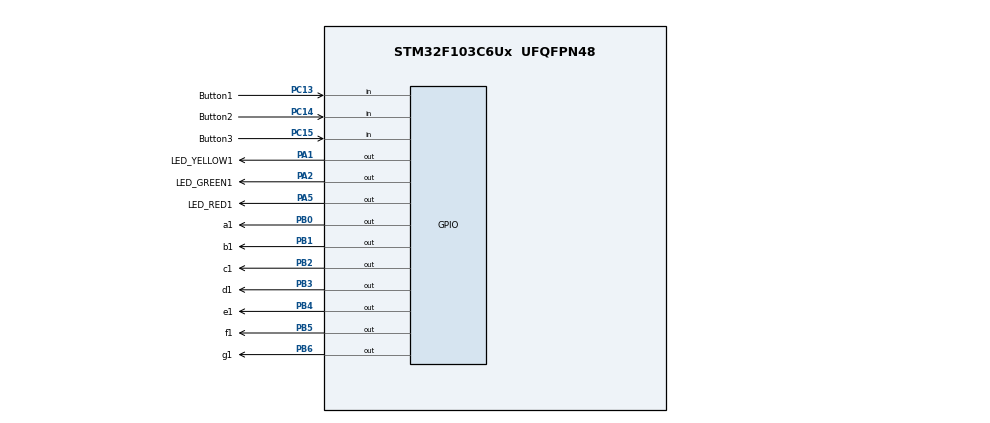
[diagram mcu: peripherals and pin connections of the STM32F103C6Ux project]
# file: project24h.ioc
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Mcu.Family=STM32F1
Mcu.Name=STM32F103C6Ux
Mcu.Package=UFQFPN48
NVIC.PriorityGroup=NVIC_PRIORITYGROUP_4
NVIC.TIM2_IRQn=true\:0\:0\:false\:false\:true\:true\:true
PA1.GPIO_Label=LED_YELLOW1
PA1.Signal=GPIO_Output
PA2.GPIO_Label=LED_GREEN1
PA2.Signal=GPIO_Output
PA5.GPIO_Label=LED_RED1
PA5.Signal=GPIO_Output
PB0.GPIO_Label=a1
PB0.Signal=GPIO_Output
PB1.GPIO_Label=b1
PB1.Signal=GPIO_Output
PB2.GPIO_Label=c1
PB2.Signal=GPIO_Output
PB3.GPIO_Label=d1
PB3.Signal=GPIO_Output
PB4.GPIO_Label=e1
PB4.Signal=GPIO_Output
PB5.GPIO_Label=f1
PB5.Signal=GPIO_Output
PB6.GPIO_Label=g1
PB6.Signal=GPIO_Output
PC13-TAMPER-RTC.GPIO_Label=Button1
PC13-TAMPER-RTC.GPIO_PuPd=GPIO_PULLUP
PC13-TAMPER-RTC.Signal=GPIO_Input
PC14-OSC32_IN.GPIO_Label=Button2
PC14-OSC32_IN.GPIO_PuPd=GPIO_PULLUP
PC14-OSC32_IN.Signal=GPIO_Input
PC15-OSC32_OUT.GPIO_Label=Button3
PC15-OSC32_OUT.GPIO_PuPd=GPIO_PULLUP
PC15-OSC32_OUT.Signal=GPIO_Input
ProjectManager.HeapSize=0x200
ProjectManager.StackSize=0x400
ProjectManager.TargetToolchain=STM32CubeIDE
RCC.APB1Freq_Value=8000000
RCC.APB2Freq_Value=8000000
TIM2.Period=9
TIM2.Prescaler=7999
VP_SYS_VS_ND.Mode=No_Debug
VP_TIM2_VS_ClockSourceINT.Mode=Internal
board=custom

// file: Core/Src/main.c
/* USER CODE BEGIN Header */
/**
  ******************************************************************************
  * @file           : main.c
  * @brief          : Main program body
  ******************************************************************************
  * @attention
  *
  * <h2><center>&copy; Copyright (c) 2022 STMicroelectronics.
  * All rights reserved.</center></h2>
  *
  * This software component is licensed by ST under BSD 3-Clause license,
  * the "License"; You may not use this file except in compliance with the
  * License. You may obtain a copy of the License at:
  *                        opensource.org/licenses/BSD-3-Clause
  *
  ******************************************************************************
  */
/* USER CODE END Header */
#include "main.h"

/* USER CODE BEGIN Includes */
#include "software_timer.h"
#include "button.h"
#include "fsm_automatic.h"
#include "fsm_manual.h"
#include "fsm.h"
/* USER CODE END Includes */

TIM_HandleTypeDef htim2;

void SystemClock_Config(void);
static void MX_GPIO_Init(void);
static void MX_TIM2_Init(void);

int main(void)
{

  /* MCU Configuration--------------------------------------------------------*/

  /* Reset of all peripherals, Initializes the Flash interface and the Systick. */
  HAL_Init();

  /* Configure the system clock */
  SystemClock_Config();

  /* Initialize all configured peripherals */
  MX_GPIO_Init();
  MX_TIM2_Init();
  /* USER CODE BEGIN 2 */
  HAL_TIM_Base_Start_IT(&htim2);
  /* USER CODE END 2 */

  /* Infinite loop */
  /* USER CODE BEGIN WHILE */
  status = INIT;
  counter = 9;
  //clearLed();
  setTimer1(1000);
  setTimer2(1000);
  while (1)
  {
//	if(isIncLongPressed() == 1) setLedYellow();
//	//else HAL_GPIO_WritePin(LED_YELLOW1_GPIO_Port, LED_YELLOW1_Pin, SET);
//	if(isIncPressed() == 1) setLedGreen();
//	//else HAL_GPIO_WritePin(LED_GREEN1_GPIO_Port, LED_GREEN1_Pin, SET);

	  //Dieu khien LED chop tat
	  if(timer2_flag == 1){
		  HAL_GPIO_TogglePin(LED_RED1_GPIO_Port, LED_RED1_Pin);
		  setTimer2(1000);
	  }

	  fsm_simple_buttons_run();
	  fsm_long_buttons_run();
    /* USER CODE END WHILE */

  }
}

void SystemClock_Config(void)
{
  RCC_OscInitTypeDef RCC_OscInitStruct = {0};
  RCC_ClkInitTypeDef RCC_ClkInitStruct = {0};

  /** Initializes the RCC Oscillators according to the specified parameters
  * in the RCC_OscInitTypeDef structure.
  */
  RCC_OscInitStruct.OscillatorType = RCC_OSCILLATORTYPE_HSI;
  RCC_OscInitStruct.HSIState = RCC_HSI_ON;
  RCC_OscInitStruct.HSICalibrationValue = RCC_HSICALIBRATION_DEFAULT;
  RCC_OscInitStruct.PLL.PLLState = RCC_PLL_NONE;
  if (HAL_RCC_OscConfig(&RCC_OscInitStruct) != HAL_OK)
  {
    Error_Handler();
  }
  /** Initializes the CPU, AHB and APB buses clocks
  */
  RCC_ClkInitStruct.ClockType = RCC_CLOCKTYPE_HCLK|RCC_CLOCKTYPE_SYSCLK
                              |RCC_CLOCKTYPE_PCLK1|RCC_CLOCKTYPE_PCLK2;
  RCC_ClkInitStruct.SYSCLKSource = RCC_SYSCLKSOURCE_HSI;
  RCC_ClkInitStruct.AHBCLKDivider = RCC_SYSCLK_DIV1;
  RCC_ClkInitStruct.APB1CLKDivider = RCC_HCLK_DIV1;
  RCC_ClkInitStruct.APB2CLKDivider = RCC_HCLK_DIV1;

  if (HAL_RCC_ClockConfig(&RCC_ClkInitStruct, FLASH_LATENCY_0) != HAL_OK)
  {
    Error_Handler();
  }
}

static void MX_TIM2_Init(void)
{

  TIM_ClockConfigTypeDef sClockSourceConfig = {0};
  TIM_MasterConfigTypeDef sMasterConfig = {0};

  htim2.Instance = TIM2;
  htim2.Init.Prescaler = 7999;
  htim2.Init.CounterMode = TIM_COUNTERMODE_UP;
  htim2.Init.Period = 9;
  htim2.Init.ClockDivision = TIM_CLOCKDIVISION_DIV1;
  htim2.Init.AutoReloadPreload = TIM_AUTORELOAD_PRELOAD_DISABLE;
  if (HAL_TIM_Base_Init(&htim2) != HAL_OK)
  {
    Error_Handler();
  }
  sClockSourceConfig.ClockSource = TIM_CLOCKSOURCE_INTERNAL;
  if (HAL_TIM_ConfigClockSource(&htim2, &sClockSourceConfig) != HAL_OK)
  {
    Error_Handler();
  }
  sMasterConfig.MasterOutputTrigger = TIM_TRGO_RESET;
  sMasterConfig.MasterSlaveMode = TIM_MASTERSLAVEMODE_DISABLE;
  if (HAL_TIMEx_MasterConfigSynchronization(&htim2, &sMasterConfig) != HAL_OK)
  {
    Error_Handler();
  }

}

static void MX_GPIO_Init(void)
{
  GPIO_InitTypeDef GPIO_InitStruct = {0};

  /* GPIO Ports Clock Enable */
  __HAL_RCC_GPIOC_CLK_ENABLE();
  __HAL_RCC_GPIOA_CLK_ENABLE();
  __HAL_RCC_GPIOB_CLK_ENABLE();

  /*Configure GPIO pin Output Level */
  HAL_GPIO_WritePin(GPIOA, LED_YELLOW1_Pin|LED_GREEN1_Pin|LED_RED1_Pin, GPIO_PIN_RESET);

  /*Configure GPIO pin Output Level */
  HAL_GPIO_WritePin(GPIOB, a1_Pin|b1_Pin|c1_Pin|d1_Pin
                          |e1_Pin|f1_Pin|g1_Pin, GPIO_PIN_RESET);

  /*Configure GPIO pins : Button1_Pin Button2_Pin Button3_Pin */
  GPIO_InitStruct.Pin = Button1_Pin|Button2_Pin|Button3_Pin;
  GPIO_InitStruct.Mode = GPIO_MODE_INPUT;
  GPIO_InitStruct.Pull = GPIO_PULLUP;
  HAL_GPIO_Init(GPIOC, &GPIO_InitStruct);

  /*Configure GPIO pins : LED_YELLOW1_Pin LED_GREEN1_Pin LED_RED1_Pin */
  GPIO_InitStruct.Pin = LED_YELLOW1_Pin|LED_GREEN1_Pin|LED_RED1_Pin;
  GPIO_InitStruct.Mode = GPIO_MODE_OUTPUT_PP;
  GPIO_InitStruct.Pull = GPIO_NOPULL;
  GPIO_InitStruct.Speed = GPIO_SPEED_FREQ_LOW;
  HAL_GPIO_Init(GPIOA, &GPIO_InitStruct);

  /*Configure GPIO pins : a1_Pin b1_Pin c1_Pin d1_Pin
                           e1_Pin f1_Pin g1_Pin */
  GPIO_InitStruct.Pin = a1_Pin|b1_Pin|c1_Pin|d1_Pin
                          |e1_Pin|f1_Pin|g1_Pin;
  GPIO_InitStruct.Mode = GPIO_MODE_OUTPUT_PP;
  GPIO_InitStruct.Pull = GPIO_NOPULL;
  GPIO_InitStruct.Speed = GPIO_SPEED_FREQ_LOW;
  HAL_GPIO_Init(GPIOB, &GPIO_InitStruct);

}

/* USER CODE BEGIN 4 */
void HAL_TIM_PeriodElapsedCallback(TIM_HandleTypeDef *htim){
	timerRun();
	getKeyInput();
}
/* USER CODE END 4 */

void Error_Handler(void)
{
  __disable_irq();
  while (1)
  {
  }
}

/************************ (C) COPYRIGHT STMicroelectronics *****END OF FILE****/
